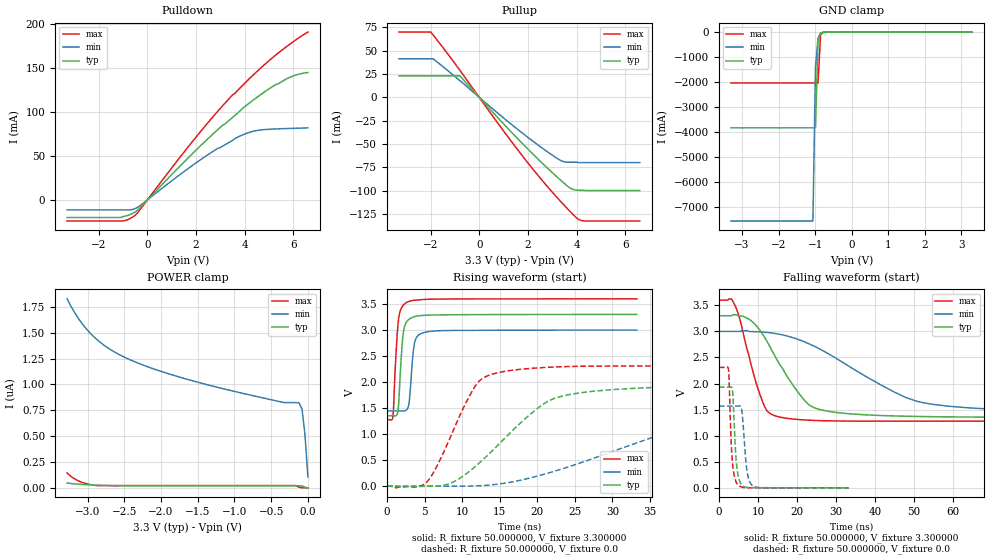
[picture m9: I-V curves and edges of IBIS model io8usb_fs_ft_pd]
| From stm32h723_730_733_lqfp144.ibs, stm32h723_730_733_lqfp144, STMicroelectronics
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|   Model io8usb_fs_ft_pd
[Model]  io8usb_fs_ft_pd
Model_type I/O
Polarity   Non-Inverting
Enable   Active-Low
Vinl =   0.990000V
Vinh =   2.310000V
Vmeas =  1.650000V
Cref =   50.000000pF
Rref =   100.000000M
Vref =   0.0V
C_comp   7.942700pF   7.938700pF   8.018200pF
[Temperature Range]   25.000000   0.140000k   -40.000000
[Pullup Reference]   3.300000V   3.000000V   3.600000V
[Pulldown Reference]   0.0V   0.0V   0.0V
[POWER Clamp Reference]   3.300000V   3.000000V   3.600000V
[GND Clamp Reference]   0.0V   0.0V   0.0V
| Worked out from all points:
|   slope of the pulldown table from 0 to 0.495 V, typ, clamps not added: 34.4 ohm
|   slope of the pullup table from 0 to 0.495 V, typ, clamps not added: 35 ohm
|   GND clamp passes 1 mA (typ) near -0.48 V on its own axis
|   rising waveform, R_fixture 50.000000, V_fixture 3.300000: 20-80 % time 527ps typ, 540ps min, 541ps max; typ from 1.35 V to 3.3 V
|   rising waveform, R_fixture 50.000000, V_fixture 0.0: 20-80 % time 8.67ns typ, 19.1ns min, 4.5ns max; typ from 0 V to 1.93 V
|   falling waveform, R_fixture 50.000000, V_fixture 3.300000: 20-80 % time 9.71ns typ, 22ns min, 5.03ns max; typ from 3.3 V to 1.35 V
|   falling waveform, R_fixture 50.000000, V_fixture 0.0: 20-80 % time 874ps typ, 1.05ns min, 795ps max; typ from 1.93 V to 0 V
[Pulldown]
|Voltage   I(typ)   I(min)   I(max)
-3.3V     -20mA      -11.32mA   -24mA
-1.1V     -20mA      -11.32mA   -24mA
-1V       -19mA      -11.32mA   -24mA
-700mV    -16.6mA    -11.3mA    -21.07mA
-500mV    -13.69mA   -9.817mA   -17.42mA
2.2V      62.03mA    46.02mA    78.27mA
3.2V      86.69mA    62.96mA    110.4mA
3.8V      101mA      72.57mA    127.1mA
4.4V      114.6mA    78.45mA    143.5mA
5.3V      131.6mA    80.85mA    165.5mA
6V        141.2mA    81.52mA    180.1mA
6.6V      145.1mA    82mA       191.1mA
[Pullup]
|Voltage   I(typ)   I(min)   I(max)
-3.3V     23.03mA    41.33mA    69.99mA
-2V       23.03mA    41.33mA    69.99mA
-1.9V     23.03mA    41.33mA    66.92mA
-800mV    23.03mA    17.87mA    29.04mA
1.3V      -36.76mA   -28.57mA   -46.62mA
2.1V      -58.16mA   -44.98mA   -73.57mA
2.8V      -75.85mA   -58.35mA   -95.62mA
3.4V      -90.1mA    -68.35mA   -113.2mA
3.7V      -96.7mA    -69.55mA   -121.5mA
4V        -99.56mA   -69.55mA   -129.3mA
4.3V      -99.77mA   -70mA      -132.5mA
6.6V      -100mA     -70mA      -132.6mA
[GND_clamp]
|Voltage   I(typ)   I(min)   I(max)
-3.3V     -3.828A    -7.552A    -2.036A
-1.06V    -3.828A    -7.552A    -2.036A
-990mV    -3.828A    -1.425A    -2.036A
-920mV    -368.6mA   -243.1mA   -2.036A
-850mV    -40.93mA   -46.27mA   -98.44mA
-780mV    -13.14mA   -14.53mA   -15.81mA
-500mV    -1.208mA   -1.769mA   -1.059mA
3.28V     0A         -16.27nA   0A
[POWER_clamp]
|Voltage   I(typ)   I(min)   I(max)
-3.28V    46.69nA    1.827uA    143.8nA
-3.12V    34.88nA    1.631uA    65.25nA
-2.92V    26.9nA     1.463uA    25.4nA
-2.72V    22.39nA    1.351uA    21.71nA
-2.44V    19.68nA    1.244uA    21.71nA
-1.96V    19.68nA    1.117uA    21.71nA
-1.32V    19.68nA    987.7nA    21.71nA
-360mV    19.68nA    829.8nA    21.71nA
-120mV    19.68nA    821.7nA    6.26nA
-80mV     19.68nA    761.5nA    0A
-40mV     6.697nA    517.9nA    0A
0V        0A         105.7nA    0A
[Ramp]
| variable   typ   min   max
dV/dt_r  1.15776/8.66262n   0.93953/19.10751n   1.38516/4.49538n
dV/dt_f  1.16736/9.68794n   0.91740/21.97923n   1.39218/5.02051n
R_load = 50.000000
[Rising Waveform]
R_fixture= 50.000000
V_fixture= 3.300000
V_fixture_min= 3.000000
V_fixture_max= 3.600000
|time   V(typ)   V(min)   V(max)
0s        1.353V     1.446V     1.279V
800.8ps   1.353V     1.446V     1.345V
1.134ns   1.352V     1.446V     2.375V
1.468ns   1.441V     1.446V     3.115V
2.069ns   2.814V     1.445V     3.46V
2.603ns   3.155V     1.465V     3.531V
2.936ns   3.206V     1.598V     3.55V
3.67ns    3.258V     2.753V     3.572V
4.738ns   3.281V     2.943V     3.586V
33.23ns   3.299V     2.999V     3.599V
|33.233233nS   3.299100V   2.999200V   3.599000V
[Rising Waveform]
R_fixture= 50.000000
V_fixture= 0.0
V_fixture_min= 0.0
V_fixture_max= 0.0
|time   V(typ)   V(min)   V(max)
0s        309.6nV    10.39uV    -6.454uV
5.205ns   -1.369mV   -1.645mV   66.22mV
8.408ns   54.39mV    -651.8uV   933.7mV
11.81ns   386.1mV    4.654mV    1.941V
15.82ns   942.3mV    60.89mV    2.21V
20.62ns   1.559V     217.8mV    2.277V
23.42ns   1.734V     338mV      2.296V
46.45ns   1.927V     1.373V     2.309V
65.47ns   1.93V      1.529V     2.309V
99.7ns    1.93V      1.566V     2.309V
[Falling Waveform]
R_fixture= 50.000000
V_fixture= 3.300000
V_fixture_min= 3.000000
V_fixture_max= 3.600000
|time   V(typ)   V(min)   V(max)
0s        3.299V     2.999V     3.599V
3.203ns   3.299V     2.999V     3.623V
4.204ns   3.319V     2.999V     3.484V
11.01ns   2.966V     2.988V     1.685V
12.41ns   2.793V     2.978V     1.468V
14.61ns   2.489V     2.956V     1.376V
22.22ns   1.652V     2.789V     1.301V
27.83ns   1.469V     2.579V     1.285V
52.45ns   1.366V     1.63V      1.279V
99.7ns    1.353V     1.446V     1.279V
[Falling Waveform]
R_fixture= 50.000000
V_fixture= 0.0
V_fixture_min= 0.0
V_fixture_max= 0.0
|time   V(typ)   V(min)   V(max)
0s        1.93V      1.566V     2.309V
2.469ns   1.93V      1.567V     2.256V
3.07ns    1.932V     1.567V     1.002V
3.403ns   1.898V     1.567V     545.5mV
4.338ns   607.9mV    1.566V     125.7mV
4.938ns   228.5mV    1.567V     51.63mV
5.939ns   48.21mV    1.446V     13.89mV
7.274ns   8.578mV    283.1mV    2.673mV
8.675ns   3.533mV    37.62mV    1.405mV
33.23ns   619.6nV    11.84uV    -6.214uV
